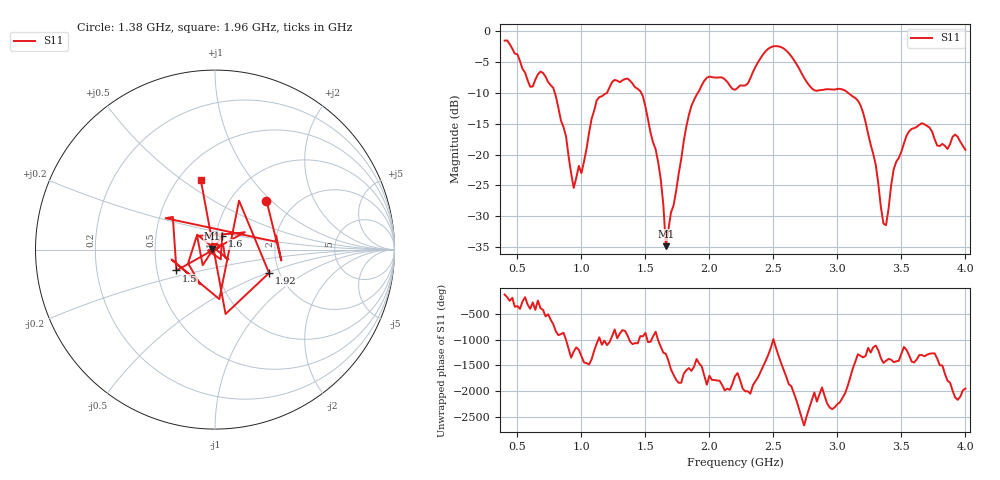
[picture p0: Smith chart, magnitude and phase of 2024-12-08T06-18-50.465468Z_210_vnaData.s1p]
!Created with skrf (http://scikit-rf.org).
# Hz S RI R 50.0
!freq ReS11 ImS11
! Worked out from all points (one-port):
!   181 points, 400 MHz to 4 GHz, reference 50 ohm
!   lowest |S11| = -34.8 dB at 1.66 GHz (marker M1), VSWR 1.04, Z = 48.3 + j0.534 ohm
!   |S11| at or under -10 dB: 792 MHz to 1.201 GHz (408.7 MHz wide, 41 % of centre); 1.467 GHz to 1.91 GHz (443.8 MHz wide, 26.3 % of centre); 3.082 GHz to end of sweep
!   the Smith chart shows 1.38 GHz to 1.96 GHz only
!   S11 on the Smith chart (normalised r, x): 1.38 GHz: 1.45, +0.94; 1.5 GHz: 0.63, -0.16; 1.6 GHz: 1.07, +0.17; 1.92 GHz: 1.77, -0.52; 1.96 GHz: 0.64, +0.59
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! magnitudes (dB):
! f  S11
! 400 MHz  -1.6
! 600 MHz  -9.0
! 680 MHz  -6.6
! 780 MHz  -9.2
! 860 MHz  -15.5
! 940 MHz  -25.4
! 1.12 GHz  -11.2
! 1.3 GHz  -8.3
! 1.38 GHz  -8.1
! 1.5 GHz  -12.2
! 1.6 GHz  -21.3
! 1.66 GHz  -34.8
! 1.76 GHz  -23.1
! 1.84 GHz  -13.6
! 1.92 GHz  -9.7
! 1.96 GHz  -8.1
! 2.2 GHz  -9.5
! 2.48 GHz  -2.6
! 2.66 GHz  -4.7
! 2.82 GHz  -9.6
! 3.1 GHz  -10.3
! 3.22 GHz  -14.7
! 3.3 GHz  -21.7
! 3.36 GHz  -31.2
! 3.38 GHz  -31.4
! 3.44 GHz  -22.4
! 3.56 GHz  -16.2
! 4 GHz  -19.2
